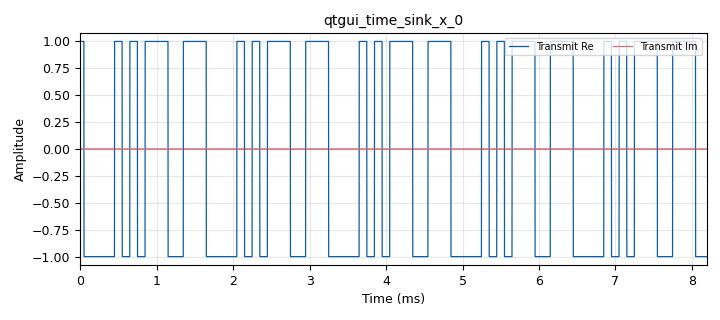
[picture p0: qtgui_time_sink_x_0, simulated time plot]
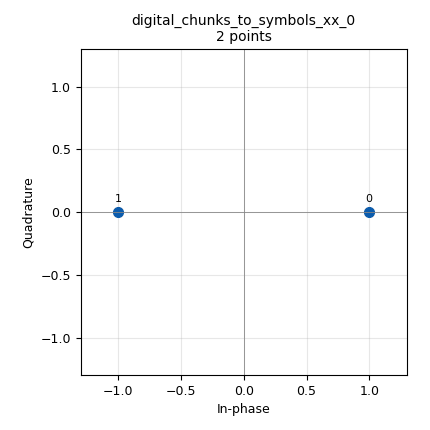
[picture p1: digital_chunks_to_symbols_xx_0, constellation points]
options:
  parameters:
    author: jason
    generate_options: qt_gui
    id: lesson12_PSK_Pluto_to_RTL_SDR
    output_language: python
    title: lesson12_PSK_Pluto_to_RTL_SDR
  states: {}

blocks:
- name: center_freq
  id: variable
  parameters:
    value: 915e6
  states: {}
- name: offset
  id: variable_qtgui_range
  parameters:
    orient: Qt.Horizontal
    start: '-20e3'
    step: '1'
    stop: 20e3
    value: '0'
  states: {}
- name: rx_gain
  id: variable_qtgui_range
  parameters:
    orient: Qt.Horizontal
    start: '0'
    step: '1'
    stop: '70'
    value: '10'
  states: {}
- name: samp_rate
  id: variable
  parameters:
    value: '1000000'
  states: {}
- name: sps
  id: variable
  parameters:
    value: '100'
  states: {}
- name: tx_attenuation
  id: variable_qtgui_range
  parameters:
    orient: Qt.Horizontal
    start: '0'
    step: '1'
    stop: '89'
    value: '10'
  states: {}
- name: analog_random_uniform_source_x_0
  id: analog_random_uniform_source_x
  parameters:
    maximum: '2'
    minimum: '0'
    seed: '0'
    type: byte
  states: {state: disabled}
- name: analog_sig_source_x_0
  id: analog_sig_source_x
  parameters:
    amp: '1'
    freq: offset
    offset: '0'
    phase: '0'
    samp_rate: samp_rate
    type: complex
    waveform: analog.GR_COS_WAVE
  states: {}
- name: blocks_multiply_xx_0
  id: blocks_multiply_xx
  parameters:
    type: complex
  states: {}
- name: blocks_repeat_0
  id: blocks_repeat
  parameters:
    interp: sps
    type: complex
  states: {}
- name: blocks_vector_source_x_0_0
  id: blocks_vector_source_x
  parameters:
    repeat: 'True'
    type: byte
    vector: '[0,1,0,1,0,0,0,1,1,0,0,0,1,1,1,1]'
  states: {}
- name: digital_chunks_to_symbols_xx_0
  id: digital_chunks_to_symbols_xx
  parameters:
    dimension: '1'
    in_type: byte
    out_type: complex
    symbol_table: '[+1, -1]'
  states: {}
- name: digital_costas_loop_cc_0
  id: digital_costas_loop_cc
  parameters:
    comment: |-
      Loop Bandwidth:
      2*3.14/100
    order: '2'
    w: 2*3.14/100
  states: {}
- name: iio_pluto_sink_0
  id: iio_pluto_sink
  parameters:
    attenuation1: tx_attenuation
    auto_filter: 'True'
    bandwidth: samp_rate
    buffer_size: '32768'
    cyclic: 'False'
    frequency: int(center_freq)
    samplerate: samp_rate
    uri: 192.168.2.1
  states: {}
- name: qtgui_const_sink_x_0
  id: qtgui_const_sink_x
  parameters:
    label1: Receive Raw
    size: '1024'
    type: complex
    xmax: '1'
    xmin: '-1'
    ymax: '1'
    ymin: '-1'
  states: {state: disabled}
- name: qtgui_const_sink_x_0_0
  id: qtgui_const_sink_x
  parameters:
    label1: Receive Offset
    size: '1024'
    type: complex
    xmax: '1'
    xmin: '-1'
    ymax: '1'
    ymin: '-1'
  states: {}
- name: qtgui_const_sink_x_0_0_0
  id: qtgui_const_sink_x
  parameters:
    label1: Receive Costas
    size: '1024'
    type: complex
    xmax: '1'
    xmin: '-1'
    ymax: '1'
    ymin: '-1'
  states: {}
- name: qtgui_freq_sink_x_0
  id: qtgui_freq_sink_x
  parameters:
    bw: samp_rate
    fc: '0'
    fftsize: '1024'
    label1: Transmit
    type: complex
    wintype: firdes.WIN_BLACKMAN_hARRIS
  states: {state: disabled}
- name: qtgui_freq_sink_x_0_0
  id: qtgui_freq_sink_x
  parameters:
    bw: samp_rate
    fc: '0'
    fftsize: 1024*8
    label1: Receive Raw
    type: complex
    wintype: firdes.WIN_BLACKMAN_hARRIS
  states: {state: disabled}
- name: qtgui_freq_sink_x_0_0_0
  id: qtgui_freq_sink_x
  parameters:
    bw: samp_rate
    fc: '0'
    fftsize: 1024*8
    label1: Receive Offset
    type: complex
    wintype: firdes.WIN_BLACKMAN_hARRIS
  states: {}
- name: qtgui_time_sink_x_0
  id: qtgui_time_sink_x
  parameters:
    label1: Transmit Re
    label2: Transmit Im
    size: 1024*8
    srate: samp_rate
    type: complex
  states: {}
- name: qtgui_time_sink_x_0_0
  id: qtgui_time_sink_x
  parameters:
    label1: Receive Raw Re
    label2: Receive Raw Im
    size: 1024*8
    srate: samp_rate
    type: complex
  states: {state: disabled}
- name: qtgui_time_sink_x_0_0_0
  id: qtgui_time_sink_x
  parameters:
    label1: Receive Offset Re
    label2: Receive Offset Im
    size: 1024*8
    srate: samp_rate
    type: complex
  states: {}
- name: qtgui_time_sink_x_0_0_0_0
  id: qtgui_time_sink_x
  parameters:
    label1: Receive Costas Re
    label2: Receive Costas Im
    size: 1024*8
    srate: samp_rate
    type: complex
  states: {}
- name: rtlsdr_source_0
  id: rtlsdr_source
  parameters:
    bb_gain0: '20'
    freq0: center_freq
    gain0: rx_gain
    gain_mode0: 'False'
    if_gain0: '20'
    sample_rate: samp_rate
    sync: sync
    type: fc32
  states: {}

connections:
- [analog_random_uniform_source_x_0, '0', digital_chunks_to_symbols_xx_0, '0']
- [analog_sig_source_x_0, '0', blocks_multiply_xx_0, '1']
- [blocks_multiply_xx_0, '0', digital_costas_loop_cc_0, '0']
- [blocks_multiply_xx_0, '0', qtgui_const_sink_x_0_0, '0']
- [blocks_multiply_xx_0, '0', qtgui_freq_sink_x_0_0_0, '0']
- [blocks_multiply_xx_0, '0', qtgui_time_sink_x_0_0_0, '0']
- [blocks_repeat_0, '0', iio_pluto_sink_0, '0']
- [blocks_repeat_0, '0', qtgui_freq_sink_x_0, '0']
- [blocks_repeat_0, '0', qtgui_time_sink_x_0, '0']
- [blocks_vector_source_x_0_0, '0', digital_chunks_to_symbols_xx_0, '0']
- [digital_chunks_to_symbols_xx_0, '0', blocks_repeat_0, '0']
- [digital_costas_loop_cc_0, '0', qtgui_const_sink_x_0_0_0, '0']
- [digital_costas_loop_cc_0, '0', qtgui_time_sink_x_0_0_0_0, '0']
- [rtlsdr_source_0, '0', blocks_multiply_xx_0, '0']
- [rtlsdr_source_0, '0', qtgui_const_sink_x_0, '0']
- [rtlsdr_source_0, '0', qtgui_freq_sink_x_0_0, '0']
- [rtlsdr_source_0, '0', qtgui_time_sink_x_0_0, '0']

metadata:
  file_format: 1
